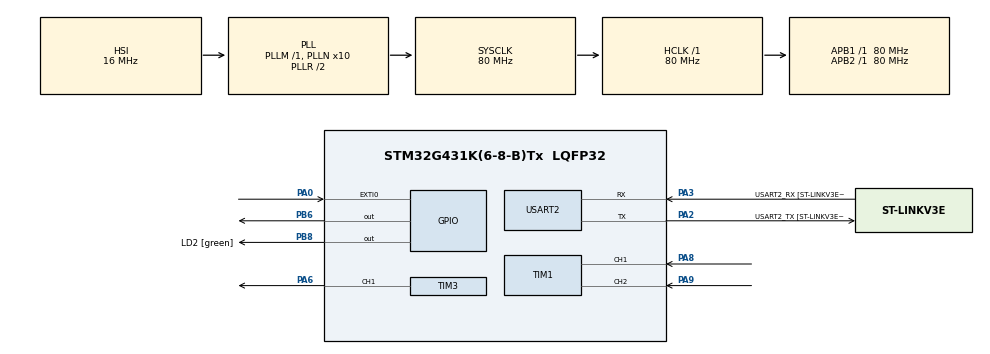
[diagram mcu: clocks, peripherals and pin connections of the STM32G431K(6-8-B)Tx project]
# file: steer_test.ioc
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Mcu.Family=STM32G4
Mcu.Name=STM32G431K(6-8-B)Tx
Mcu.Package=LQFP32
NVIC.EXTI0_IRQn=true\:0\:0\:false\:false\:true\:true\:true
NVIC.PriorityGroup=NVIC_PRIORITYGROUP_4
NVIC.TIM1_BRK_TIM15_IRQn=true\:15\:0\:false\:false\:true\:false\:true
NVIC.TIM2_IRQn=true\:0\:0\:false\:false\:true\:true\:true
NVIC.TIM4_IRQn=true\:0\:0\:false\:false\:true\:true\:true
NVIC.TimeBase=TIM1_BRK_TIM15_IRQn
NVIC.TimeBaseIP=TIM15
NVIC.USART2_IRQn=true\:0\:0\:false\:false\:true\:true\:true
PA0.Signal=GPXTI0
PA13.GPIO_Label=T_SWDIO
PA13.Mode=Serial_Wire
PA13.Signal=SYS_JTMS-SWDIO
PA14.GPIO_Label=T_SWCLK
PA14.Mode=Serial_Wire
PA14.Signal=SYS_JTCK-SWCLK
PA2.GPIO_Label=USART2_TX [ST-LINKV3E_VCP_RX]
PA2.Mode=Asynchronous
PA2.Signal=USART2_TX
PA3.GPIO_Label=USART2_RX [ST-LINKV3E_VCP_TX]
PA3.Mode=Asynchronous
PA3.Signal=USART2_RX
PA6.Signal=S_TIM3_CH1
PA8.Signal=S_TIM1_CH1
PA9.Signal=S_TIM1_CH2
PB3.GPIO_Label=T_SWO
PB3.Signal=SYS_JTDO-SWO
PB6.Signal=GPIO_Output
PB8-BOOT0.GPIO_Label=LD2 [green]
PB8-BOOT0.Signal=GPIO_Output
ProjectManager.HeapSize=0x200
ProjectManager.StackSize=0x400
ProjectManager.TargetToolchain=STM32CubeIDE
RCC.ADC12Freq_Value=80000000
RCC.AHBFreq_Value=80000000
RCC.APB1Freq_Value=80000000
RCC.APB1TimFreq_Value=80000000
RCC.APB2Freq_Value=80000000
RCC.APB2TimFreq_Value=80000000
RCC.CortexFreq_Value=80000000
RCC.EXTERNAL_CLOCK_VALUE=12288000
RCC.HCLKFreq_Value=80000000
RCC.HSE_VALUE=8000000
RCC.HSI48_VALUE=48000000
RCC.HSI_VALUE=16000000
RCC.LSE_VALUE=32768
RCC.PLLN=10
RCC.SYSCLKFreq_VALUE=80000000
RCC.SYSCLKSource=RCC_SYSCLKSOURCE_PLLCLK
RCC.USBFreq_Value=80000000
RCC.VCOOutputFreq_Value=160000000
SH.S_TIM1_CH1.0=TIM1_CH1,Encoder_Interface
SH.S_TIM1_CH2.0=TIM1_CH2,Encoder_Interface
SH.S_TIM3_CH1.0=TIM3_CH1,PWM Generation1 CH1
TIM1.EncoderMode=TIM_ENCODERMODE_TI12
TIM2.PeriodNoDither=1000-1
TIM2.Prescaler=80
TIM3.Channel-PWM\ Generation1\ CH1=TIM_CHANNEL_1
TIM3.PeriodNoDither=1000-1
TIM3.Prescaler=8-1
TIM4.PeriodNoDither=10000-1
TIM4.Prescaler=80-1
USART2.VirtualMode-Asynchronous=VM_ASYNC
USART2.WordLength=WORDLENGTH_8B
VP_SYS_VS_DBSignals.Mode=DisableDeadBatterySignals
VP_SYS_VS_tim15.Mode=TIM15
VP_TIM2_VS_ClockSourceINT.Mode=Internal
VP_TIM3_VS_ClockSourceINT.Mode=Internal
VP_TIM4_VS_ClockSourceINT.Mode=Internal
board=NUCLEO-G431KB

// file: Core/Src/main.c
/* USER CODE BEGIN Header */
/**
  ******************************************************************************
  * @file           : main.c
  * @brief          : Main program body
  ******************************************************************************
  * @attention
  *
  * <h2><center>&copy; Copyright (c) 2023 STMicroelectronics.
  * All rights reserved.</center></h2>
  *
  * This software component is licensed by ST under BSD 3-Clause license,
  * the "License"; You may not use this file except in compliance with the
  * License. You may obtain a copy of the License at:
  *                        opensource.org/licenses/BSD-3-Clause
  *
  ******************************************************************************
  */
/* USER CODE END Header */
#include "main.h"

/* USER CODE BEGIN Includes */
#include "stdio.h"
#include "string.h"
#include "stdlib.h"
#include "math.h"

#include "PID_anti_windup.h"
/* USER CODE END Includes */

/* USER CODE BEGIN PD */
#define ENCODER_PR 8192
#define FILTER_C 0.85f

#define __max(a,b) (((a) > (b)) ? (a) : (b))
#define __min(a,b) (((a) < (b)) ? (a) : (b))
#define __abs(a) (((a) > 0) ? (a) : (-1*a))
/* USER CODE END PD */

TIM_HandleTypeDef htim1;
TIM_HandleTypeDef htim2;
TIM_HandleTypeDef htim3;
TIM_HandleTypeDef htim4;

UART_HandleTypeDef huart2;

/* USER CODE BEGIN PV */
uint8_t buffer[4];

float theta = 0;
float theta_filtered = 0;
volatile float duty = 0;
volatile float target = 0;
volatile float deg_sec = 0;

volatile uint8_t init_done = 0; // flag
const float X_phase_angle = -64;
/* USER CODE END PV */

void SystemClock_Config(void);
static void MX_GPIO_Init(void);
static void MX_TIM1_Init(void);
static void MX_TIM2_Init(void);
static void MX_USART2_UART_Init(void);
static void MX_TIM3_Init(void);
static void MX_TIM4_Init(void);
/* USER CODE BEGIN PFP */
void goto_angle(float input);
void initial_pos_calibration();
/* USER CODE END PFP */

int main(void)
{
  /* USER CODE BEGIN 1 */
  setbuf(stdout, NULL);
  /* USER CODE END 1 */

  /* MCU Configuration--------------------------------------------------------*/

  /* Reset of all peripherals, Initializes the Flash interface and the Systick. */
  HAL_Init();

  /* Configure the system clock */
  SystemClock_Config();

  /* Initialize all configured peripherals */
  MX_GPIO_Init();
  MX_TIM1_Init();
  MX_TIM2_Init();
  MX_USART2_UART_Init();
  MX_TIM3_Init();
  MX_TIM4_Init();
  /* USER CODE BEGIN 2 */

  HAL_TIM_PWM_Start(&htim3, TIM_CHANNEL_1);
  HAL_TIM_Encoder_Start(&htim1, TIM_CHANNEL_ALL);

  HAL_StatusTypeDef s;

  HAL_TIM_Base_Stop_IT(&htim2);
  HAL_TIM_Base_Stop_IT(&htim4);
  HAL_GPIO_WritePin(GPIOB, GPIO_PIN_6, GPIO_PIN_SET);
  __HAL_TIM_SET_COMPARE(&htim3, TIM_CHANNEL_1, 450);
  while (init_done == 0) {
//    printf("Searching initial position\r\n");
//    HAL_Delay(20);
  }

  HAL_Delay(10);
  HAL_UART_Receive_IT(&huart2, buffer, 4);
  /* USER CODE END 2 */

  /* Infinite loop */
  while (1)
  {

  }
}

void SystemClock_Config(void)
{
  RCC_OscInitTypeDef RCC_OscInitStruct = {0};
  RCC_ClkInitTypeDef RCC_ClkInitStruct = {0};
  RCC_PeriphCLKInitTypeDef PeriphClkInit = {0};

  /** Configure the main internal regulator output voltage
  */
  HAL_PWREx_ControlVoltageScaling(PWR_REGULATOR_VOLTAGE_SCALE1);
  /** Initializes the RCC Oscillators according to the specified parameters
  * in the RCC_OscInitTypeDef structure.
  */
  RCC_OscInitStruct.OscillatorType = RCC_OSCILLATORTYPE_HSI;
  RCC_OscInitStruct.HSIState = RCC_HSI_ON;
  RCC_OscInitStruct.HSICalibrationValue = RCC_HSICALIBRATION_DEFAULT;
  RCC_OscInitStruct.PLL.PLLState = RCC_PLL_ON;
  RCC_OscInitStruct.PLL.PLLSource = RCC_PLLSOURCE_HSI;
  RCC_OscInitStruct.PLL.PLLM = RCC_PLLM_DIV1;
  RCC_OscInitStruct.PLL.PLLN = 10;
  RCC_OscInitStruct.PLL.PLLP = RCC_PLLP_DIV2;
  RCC_OscInitStruct.PLL.PLLQ = RCC_PLLQ_DIV2;
  RCC_OscInitStruct.PLL.PLLR = RCC_PLLR_DIV2;
  if (HAL_RCC_OscConfig(&RCC_OscInitStruct) != HAL_OK)
  {
    Error_Handler();
  }
  /** Initializes the CPU, AHB and APB buses clocks
  */
  RCC_ClkInitStruct.ClockType = RCC_CLOCKTYPE_HCLK|RCC_CLOCKTYPE_SYSCLK
                              |RCC_CLOCKTYPE_PCLK1|RCC_CLOCKTYPE_PCLK2;
  RCC_ClkInitStruct.SYSCLKSource = RCC_SYSCLKSOURCE_PLLCLK;
  RCC_ClkInitStruct.AHBCLKDivider = RCC_SYSCLK_DIV1;
  RCC_ClkInitStruct.APB1CLKDivider = RCC_HCLK_DIV1;
  RCC_ClkInitStruct.APB2CLKDivider = RCC_HCLK_DIV1;

  if (HAL_RCC_ClockConfig(&RCC_ClkInitStruct, FLASH_LATENCY_2) != HAL_OK)
  {
    Error_Handler();
  }
  /** Initializes the peripherals clocks
  */
  PeriphClkInit.PeriphClockSelection = RCC_PERIPHCLK_USART2;
  PeriphClkInit.Usart2ClockSelection = RCC_USART2CLKSOURCE_PCLK1;
  if (HAL_RCCEx_PeriphCLKConfig(&PeriphClkInit) != HAL_OK)
  {
    Error_Handler();
  }
}

static void MX_TIM1_Init(void)
{

  TIM_Encoder_InitTypeDef sConfig = {0};
  TIM_MasterConfigTypeDef sMasterConfig = {0};

  htim1.Instance = TIM1;
  htim1.Init.Prescaler = 0;
  htim1.Init.CounterMode = TIM_COUNTERMODE_UP;
  htim1.Init.Period = 65535;
  htim1.Init.ClockDivision = TIM_CLOCKDIVISION_DIV1;
  htim1.Init.RepetitionCounter = 0;
  htim1.Init.AutoReloadPreload = TIM_AUTORELOAD_PRELOAD_DISABLE;
  sConfig.EncoderMode = TIM_ENCODERMODE_TI12;
  sConfig.IC1Polarity = TIM_ICPOLARITY_RISING;
  sConfig.IC1Selection = TIM_ICSELECTION_DIRECTTI;
  sConfig.IC1Prescaler = TIM_ICPSC_DIV1;
  sConfig.IC1Filter = 0;
  sConfig.IC2Polarity = TIM_ICPOLARITY_RISING;
  sConfig.IC2Selection = TIM_ICSELECTION_DIRECTTI;
  sConfig.IC2Prescaler = TIM_ICPSC_DIV1;
  sConfig.IC2Filter = 0;
  if (HAL_TIM_Encoder_Init(&htim1, &sConfig) != HAL_OK)
  {
    Error_Handler();
  }
  sMasterConfig.MasterOutputTrigger = TIM_TRGO_RESET;
  sMasterConfig.MasterOutputTrigger2 = TIM_TRGO2_RESET;
  sMasterConfig.MasterSlaveMode = TIM_MASTERSLAVEMODE_DISABLE;
  if (HAL_TIMEx_MasterConfigSynchronization(&htim1, &sMasterConfig) != HAL_OK)
  {
    Error_Handler();
  }

}

static void MX_TIM2_Init(void)
{

  TIM_ClockConfigTypeDef sClockSourceConfig = {0};
  TIM_MasterConfigTypeDef sMasterConfig = {0};

  htim2.Instance = TIM2;
  htim2.Init.Prescaler = 80;
  htim2.Init.CounterMode = TIM_COUNTERMODE_UP;
  htim2.Init.Period = 999;
  htim2.Init.ClockDivision = TIM_CLOCKDIVISION_DIV1;
  htim2.Init.AutoReloadPreload = TIM_AUTORELOAD_PRELOAD_DISABLE;
  if (HAL_TIM_Base_Init(&htim2) != HAL_OK)
  {
    Error_Handler();
  }
  sClockSourceConfig.ClockSource = TIM_CLOCKSOURCE_INTERNAL;
  if (HAL_TIM_ConfigClockSource(&htim2, &sClockSourceConfig) != HAL_OK)
  {
    Error_Handler();
  }
  sMasterConfig.MasterOutputTrigger = TIM_TRGO_RESET;
  sMasterConfig.MasterSlaveMode = TIM_MASTERSLAVEMODE_DISABLE;
  if (HAL_TIMEx_MasterConfigSynchronization(&htim2, &sMasterConfig) != HAL_OK)
  {
    Error_Handler();
  }

}

static void MX_TIM3_Init(void)
{

  TIM_ClockConfigTypeDef sClockSourceConfig = {0};
  TIM_MasterConfigTypeDef sMasterConfig = {0};
  TIM_OC_InitTypeDef sConfigOC = {0};

  htim3.Instance = TIM3;
  htim3.Init.Prescaler = 8-1;
  htim3.Init.CounterMode = TIM_COUNTERMODE_UP;
  htim3.Init.Period = 999;
  htim3.Init.ClockDivision = TIM_CLOCKDIVISION_DIV1;
  htim3.Init.AutoReloadPreload = TIM_AUTORELOAD_PRELOAD_DISABLE;
  if (HAL_TIM_Base_Init(&htim3) != HAL_OK)
  {
    Error_Handler();
  }
  sClockSourceConfig.ClockSource = TIM_CLOCKSOURCE_INTERNAL;
  if (HAL_TIM_ConfigClockSource(&htim3, &sClockSourceConfig) != HAL_OK)
  {
    Error_Handler();
  }
  if (HAL_TIM_PWM_Init(&htim3) != HAL_OK)
  {
    Error_Handler();
  }
  sMasterConfig.MasterOutputTrigger = TIM_TRGO_RESET;
  sMasterConfig.MasterSlaveMode = TIM_MASTERSLAVEMODE_DISABLE;
  if (HAL_TIMEx_MasterConfigSynchronization(&htim3, &sMasterConfig) != HAL_OK)
  {
    Error_Handler();
  }
  sConfigOC.OCMode = TIM_OCMODE_PWM1;
  sConfigOC.Pulse = 0;
  sConfigOC.OCPolarity = TIM_OCPOLARITY_HIGH;
  sConfigOC.OCFastMode = TIM_OCFAST_DISABLE;
  if (HAL_TIM_PWM_ConfigChannel(&htim3, &sConfigOC, TIM_CHANNEL_1) != HAL_OK)
  {
    Error_Handler();
  }
  HAL_TIM_MspPostInit(&htim3);

}

static void MX_TIM4_Init(void)
{

  TIM_ClockConfigTypeDef sClockSourceConfig = {0};
  TIM_MasterConfigTypeDef sMasterConfig = {0};

  htim4.Instance = TIM4;
  htim4.Init.Prescaler = 80-1;
  htim4.Init.CounterMode = TIM_COUNTERMODE_UP;
  htim4.Init.Period = 9999;
  htim4.Init.ClockDivision = TIM_CLOCKDIVISION_DIV1;
  htim4.Init.AutoReloadPreload = TIM_AUTORELOAD_PRELOAD_DISABLE;
  if (HAL_TIM_Base_Init(&htim4) != HAL_OK)
  {
    Error_Handler();
  }
  sClockSourceConfig.ClockSource = TIM_CLOCKSOURCE_INTERNAL;
  if (HAL_TIM_ConfigClockSource(&htim4, &sClockSourceConfig) != HAL_OK)
  {
    Error_Handler();
  }
  sMasterConfig.MasterOutputTrigger = TIM_TRGO_RESET;
  sMasterConfig.MasterSlaveMode = TIM_MASTERSLAVEMODE_DISABLE;
  if (HAL_TIMEx_MasterConfigSynchronization(&htim4, &sMasterConfig) != HAL_OK)
  {
    Error_Handler();
  }

}

static void MX_USART2_UART_Init(void)
{

  huart2.Instance = USART2;
  huart2.Init.BaudRate = 115200;
  huart2.Init.WordLength = UART_WORDLENGTH_8B;
  huart2.Init.StopBits = UART_STOPBITS_1;
  huart2.Init.Parity = UART_PARITY_NONE;
  huart2.Init.Mode = UART_MODE_TX_RX;
  huart2.Init.HwFlowCtl = UART_HWCONTROL_NONE;
  huart2.Init.OverSampling = UART_OVERSAMPLING_16;
  huart2.Init.OneBitSampling = UART_ONE_BIT_SAMPLE_DISABLE;
  huart2.Init.ClockPrescaler = UART_PRESCALER_DIV1;
  huart2.AdvancedInit.AdvFeatureInit = UART_ADVFEATURE_NO_INIT;
  if (HAL_UART_Init(&huart2) != HAL_OK)
  {
    Error_Handler();
  }
  if (HAL_UARTEx_SetTxFifoThreshold(&huart2, UART_TXFIFO_THRESHOLD_1_8) != HAL_OK)
  {
    Error_Handler();
  }
  if (HAL_UARTEx_SetRxFifoThreshold(&huart2, UART_RXFIFO_THRESHOLD_1_8) != HAL_OK)
  {
    Error_Handler();
  }
  if (HAL_UARTEx_DisableFifoMode(&huart2) != HAL_OK)
  {
    Error_Handler();
  }

}

static void MX_GPIO_Init(void)
{
  GPIO_InitTypeDef GPIO_InitStruct = {0};

  /* GPIO Ports Clock Enable */
  __HAL_RCC_GPIOA_CLK_ENABLE();
  __HAL_RCC_GPIOB_CLK_ENABLE();

  /*Configure GPIO pin Output Level */
  HAL_GPIO_WritePin(GPIOB, GPIO_PIN_6|LD2_Pin, GPIO_PIN_RESET);

  /*Configure GPIO pin : PA0 */
  GPIO_InitStruct.Pin = GPIO_PIN_0;
  GPIO_InitStruct.Mode = GPIO_MODE_IT_RISING;
  GPIO_InitStruct.Pull = GPIO_NOPULL;
  HAL_GPIO_Init(GPIOA, &GPIO_InitStruct);

  /*Configure GPIO pins : PB6 LD2_Pin */
  GPIO_InitStruct.Pin = GPIO_PIN_6|LD2_Pin;
  GPIO_InitStruct.Mode = GPIO_MODE_OUTPUT_PP;
  GPIO_InitStruct.Pull = GPIO_NOPULL;
  GPIO_InitStruct.Speed = GPIO_SPEED_FREQ_LOW;
  HAL_GPIO_Init(GPIOB, &GPIO_InitStruct);

  /* EXTI interrupt init*/
  HAL_NVIC_SetPriority(EXTI0_IRQn, 0, 0);
  HAL_NVIC_EnableIRQ(EXTI0_IRQn);

}

/* USER CODE BEGIN 4 */
int _write(int file, char *ptr, int len) {
  HAL_UART_Transmit(&huart2, (uint8_t *)ptr, len, 1);
  return len;
}

void HAL_GPIO_EXTI_Callback(uint16_t GPIO_Pin) {
// use x phase to find initial position (do once)
  if (GPIO_Pin == GPIO_PIN_0) {
    if (init_done == 0) {
      init_done = 1;
      theta = X_phase_angle;
      theta_filtered = X_phase_angle;
      __HAL_TIM_SET_COMPARE(&htim3, TIM_CHANNEL_1, 1000);
      __HAL_TIM_SET_COUNTER(&htim1, 0);
      HAL_TIM_Base_Start_IT(&htim2);
      HAL_TIM_Base_Start_IT(&htim4);
      printf("X-phase sig detected\r\n");
      theta = X_phase_angle;
      theta_filtered = X_phase_angle;
      target = 0;
      reset_pid_vars();    }
  }

}

void goto_angle(float input) {
  float diff = fmod(input - target, 360);
  if (__abs(diff) <= 180) {
    target += diff;
  } else {
    if (diff > 0) {
      target -= fmod(fmod(360 - diff, 360) + 360, 360);
    } else {
      target += (360 + diff);
    }
  }
//  target = input;
}

void move_relative_degree(float degree) {
  target += degree;
}

void set_degree_per_sec(float deg_per_sec) {
  deg_sec = deg_per_sec;
}

void initial_pos_calibration() {
  init_done = 0;
  HAL_TIM_Base_Stop_IT(&htim2);
  HAL_TIM_Base_Stop_IT(&htim4);
  HAL_GPIO_WritePin(GPIOB, GPIO_PIN_6, GPIO_PIN_SET);
  __HAL_TIM_SET_COMPARE(&htim3, TIM_CHANNEL_1, 550);
  printf("Searching initial position\r\n");
  while (init_done == 0) {
    HAL_Delay(1);
  }

}
void HAL_UART_RxCpltCallback(UART_HandleTypeDef *huart) {
  if (huart->Instance == USART2) {
    int received_num = atoi(buffer);
    if (received_num == 9999) {
      initial_pos_calibration();
    } else {
      goto_angle((float) received_num);
      printf("%d\r\n", received_num);
    }
    HAL_UART_Receive_IT(&huart2, buffer, 4);
  }
}

/* USER CODE END 4 */

void HAL_TIM_PeriodElapsedCallback(TIM_HandleTypeDef *htim)
{
  if (htim->Instance == TIM15) {
    HAL_IncTick();
  }
  /* USER CODE BEGIN Callback 1 */
  if (htim->Instance == TIM2) {
    int16_t buff = __HAL_TIM_GET_COUNTER(&htim1);
    __HAL_TIM_SET_COUNTER(&htim1, 0);
    theta += ((float)buff / (float)ENCODER_PR * 360.0);
    theta_filtered = (FILTER_C * theta_filtered) + ((1-FILTER_C) * theta);

    duty = calc_output_PID_AW(target, theta_filtered, 0.001);

    if (duty > 950) {
      duty = 950;
    } else if (duty < -950) {
      duty = -950;
    }
    if ((duty <= 0)) {
      __HAL_TIM_SET_COMPARE(&htim3, TIM_CHANNEL_1, (1000+(int)duty));
      HAL_GPIO_WritePin(GPIOB, GPIO_PIN_6, GPIO_PIN_SET);
      HAL_GPIO_WritePin(LD2_GPIO_Port, LD2_Pin, GPIO_PIN_SET);
    } else {
      __HAL_TIM_SET_COMPARE(&htim3, TIM_CHANNEL_1, 1000-(int)duty);
      HAL_GPIO_WritePin(GPIOB, GPIO_PIN_6, GPIO_PIN_RESET);
      HAL_GPIO_WritePin(LD2_GPIO_Port, LD2_Pin, GPIO_PIN_RESET);
    }
  }

  if (htim -> Instance == TIM4) {
    target += deg_sec * 0.01;
    printf("%.1f\r\n", theta_filtered);
  }
  /* USER CODE END Callback 1 */
}

void Error_Handler(void)
{
  __disable_irq();
  while (1)
  {
  }
}

/************************ (C) COPYRIGHT STMicroelectronics *****END OF FILE****/
